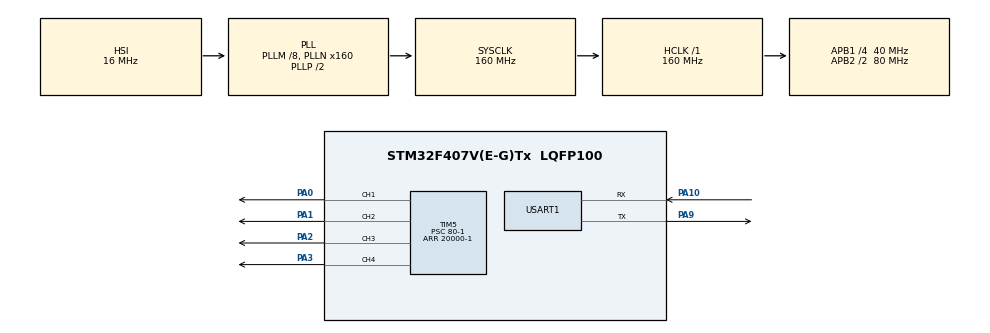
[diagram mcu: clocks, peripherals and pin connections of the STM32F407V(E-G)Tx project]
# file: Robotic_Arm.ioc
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Dma.Request0=USART1_RX
Dma.USART1_RX.0.Direction=DMA_PERIPH_TO_MEMORY
Dma.USART1_RX.0.FIFOMode=DMA_FIFOMODE_DISABLE
Dma.USART1_RX.0.Instance=DMA2_Stream2
Dma.USART1_RX.0.MemDataAlignment=DMA_MDATAALIGN_BYTE
Dma.USART1_RX.0.MemInc=DMA_MINC_ENABLE
Dma.USART1_RX.0.Mode=DMA_NORMAL
Dma.USART1_RX.0.PeriphDataAlignment=DMA_PDATAALIGN_BYTE
Dma.USART1_RX.0.PeriphInc=DMA_PINC_DISABLE
Dma.USART1_RX.0.Priority=DMA_PRIORITY_LOW
Mcu.Family=STM32F4
Mcu.Name=STM32F407V(E-G)Tx
Mcu.Package=LQFP100
NVIC.DMA2_Stream2_IRQn=true\:0\:0\:false\:false\:true\:false\:true\:true
NVIC.PriorityGroup=NVIC_PRIORITYGROUP_4
NVIC.TIM6_DAC_IRQn=true\:15\:0\:false\:false\:true\:false\:true\:true
NVIC.TimeBase=TIM6_DAC_IRQn
NVIC.TimeBaseIP=TIM6
NVIC.USART1_IRQn=true\:0\:0\:false\:false\:true\:true\:true\:true
PA0-WKUP.GPIO_PuPd=GPIO_PULLDOWN
PA0-WKUP.Signal=S_TIM5_CH1
PA1.GPIO_PuPd=GPIO_PULLDOWN
PA1.Signal=S_TIM5_CH2
PA10.Mode=Asynchronous
PA10.Signal=USART1_RX
PA13.Mode=Serial_Wire
PA13.Signal=SYS_JTMS-SWDIO
PA14.Mode=Serial_Wire
PA14.Signal=SYS_JTCK-SWCLK
PA2.GPIO_PuPd=GPIO_PULLDOWN
PA2.Signal=S_TIM5_CH3
PA3.GPIO_PuPd=GPIO_PULLDOWN
PA3.Signal=S_TIM5_CH4
PA9.Mode=Asynchronous
PA9.Signal=USART1_TX
ProjectManager.HeapSize=0x200
ProjectManager.StackSize=0x400
ProjectManager.TargetToolchain=MDK-ARM V5.32
RCC.48MHZClocksFreq_Value=80000000
RCC.AHBFreq_Value=160000000
RCC.APB1CLKDivider=RCC_HCLK_DIV4
RCC.APB1Freq_Value=40000000
RCC.APB1TimFreq_Value=80000000
RCC.APB2CLKDivider=RCC_HCLK_DIV2
RCC.APB2Freq_Value=80000000
RCC.APB2TimFreq_Value=160000000
RCC.CortexFreq_Value=160000000
RCC.HCLKFreq_Value=160000000
RCC.HSE_VALUE=25000000
RCC.HSI_VALUE=16000000
RCC.LSE_VALUE=32768
RCC.PLLM=8
RCC.PLLN=160
RCC.SYSCLKFreq_VALUE=160000000
RCC.SYSCLKSource=RCC_SYSCLKSOURCE_PLLCLK
RCC.VCOOutputFreq_Value=320000000
SH.S_TIM5_CH1.0=TIM5_CH1,PWM Generation1 CH1
SH.S_TIM5_CH2.0=TIM5_CH2,PWM Generation2 CH2
SH.S_TIM5_CH3.0=TIM5_CH3,PWM Generation3 CH3
SH.S_TIM5_CH4.0=TIM5_CH4,PWM Generation4 CH4
TIM5.Channel-PWM\ Generation1\ CH1=TIM_CHANNEL_1
TIM5.Channel-PWM\ Generation2\ CH2=TIM_CHANNEL_2
TIM5.Channel-PWM\ Generation3\ CH3=TIM_CHANNEL_3
TIM5.Channel-PWM\ Generation4\ CH4=TIM_CHANNEL_4
TIM5.Period=20000-1
TIM5.Prescaler=80-1
USART1.VirtualMode=VM_ASYNC
VP_SYS_VS_tim6.Mode=TIM6
board=custom

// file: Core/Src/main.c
/* USER CODE BEGIN Header */
/**
  ******************************************************************************
  * @file           : main.c
  * @brief          : Main program body
  ******************************************************************************
  * @attention
  *
  * Copyright (c) 2025 STMicroelectronics.
  * All rights reserved.
  *
  * This software is licensed under terms that can be found in the LICENSE file
  * in the root directory of this software component.
  * If no LICENSE file comes with this software, it is provided AS-IS.
  *
  ******************************************************************************
  */
/* USER CODE END Header */
#include "main.h"
#include "dma.h"
#include "tim.h"
#include "usart.h"
#include "gpio.h"
#include "bsp_usart.h"
#include "math.h"

/* USER CODE BEGIN Includes */
#include "servo.h"
#include "Kinematic_solution.h"
/* USER CODE END Includes */

/* USER CODE BEGIN PD */
uint8_t Suck_Flag = 0;
/* USER CODE END PD */

/* USER CODE BEGIN PM */
float theta[3];
int32_t coord[3];//X Y Z
USARTInstance uartinstance;

/* USER CODE END PM */

void SystemClock_Config(void);

/* USER CODE BEGIN 0 */
// 在main()函数前调用
void EnableFPU(void) {
    // 启用CP10和CP11协处理器（FPU）
    SCB->CPACR |= ((3UL << 10*2) | (3UL << 11*2)); // CP10和CP11全访问
}

void pack_callback(void *param)
{
    // 假设uartinstance已定义并包含recv_buff和recv_len
    uint8_t* buff = uartinstance.recv_buff;

    // 检查帧头
    if(buff[0] != 0xED) return;

    // 解析摇杆数据（小端序）
    coord[0] = buff[1] | (buff[2] << 8);  // 左X
    coord[1] = buff[3] | (buff[4] << 8);  // 左Y
    // coord[2] = buff[5] | (buff[6] << 8);  // 右X
    coord[2] = buff[7] | (buff[8] << 8);  // 右Y

    // 添加绝对值200限位处理
    for(int i = 0; i < 3; i++) {
        if(coord[i] > 200) {
            coord[i] = 200;
        }
        else if(coord[i] < -200) {
            coord[i] = -200;
        }
    }

    // 保持原有的Y轴下限为0的处理
    if(coord[1] < 0) {
        coord[1] = 0;
    }

    // 存储按钮状态（A/B/X/Y）
    if(buff[9] == 0x01)   // A按钮
    {
        Suck_Flag = 1;
    }
}

/* USER CODE END 0 */

int main(void)
{

  /* MCU Configuration--------------------------------------------------------*/

  /* Reset of all peripherals, Initializes the Flash interface and the Systick. */
  HAL_Init();

  /* Configure the system clock */
  SystemClock_Config();

  /* Initialize all configured peripherals */
  MX_GPIO_Init();
  MX_DMA_Init();
  MX_TIM5_Init();
  MX_USART1_UART_Init();
  /* USER CODE BEGIN 2 */

  Servo_Init();
  Servo_Config(0, &htim5, TIM_CHANNEL_1, 500, 2500, 0, 180);
  Servo_Config(1, &htim5, TIM_CHANNEL_2, 500, 2500, 0, 180);
  Servo_Config(2, &htim5, TIM_CHANNEL_3, 500, 2500, 0, 180);
  Servo_Config(3, &htim5, TIM_CHANNEL_4, 500, 2500, 0, 180);

	coord[0]=0;
	coord[1]=150;
	coord[2]=165;

  USART_Init_Config_s uart_config;
  uart_config.recv_buff_size = 50;
  uart_config.usart_handle = &huart1;
  uart_config.module_callback = pack_callback;
  uart_config.param = &uartinstance;
  USARTRegister(&uartinstance, &uart_config);

  /* USER CODE END 2 */

  /* Infinite loop */
  /* USER CODE BEGIN WHILE */
  while (1)
  {
    acclulate(coord[0], coord[1], coord[2], &theta[0], &theta[1], &theta[2]);

    if(theta[0] > 180) {
      theta[0] = 180;
    }
		if(theta[0] < 80) {
      theta[0] = 80;
    }
    if(theta[1] > 130) {
      theta[1] = 130;
    }
    if(theta[1] < 0) {
      theta[1] = 0;
    }

    theta[0] = 180 - theta[0];

    Servo_SetAngle(0, theta[1]);
    HAL_Delay(1000);
    Servo_SetAngle(1, theta[0]);
    HAL_Delay(1000);
    Servo_SetAngle(2, theta[2]);
    HAL_Delay(1000);
    // Servo_SetAngle(0, 90);
    // HAL_Delay(1000);
		// Servo_SetAngle(1, 0);
    // HAL_Delay(1000);
		// Servo_SetAngle(3, 0);
    // HAL_Delay(2000);
		// Servo_SetAngle(0, 40);
    // HAL_Delay(1000);
		// Servo_SetAngle(1, 50);
    // HAL_Delay(1000);
		// Servo_SetAngle(3, 180);
    // HAL_Delay(2000);
    switch (Suck_Flag)
    {
    case 1:Servo_SetAngle(3, 180);
      break;

    default:Servo_SetAngle(3, 0);
      break;
    }

    /* USER CODE END WHILE */

  }
}

void SystemClock_Config(void)
{
  RCC_OscInitTypeDef RCC_OscInitStruct = {0};
  RCC_ClkInitTypeDef RCC_ClkInitStruct = {0};

  /** Configure the main internal regulator output voltage
  */
  __HAL_RCC_PWR_CLK_ENABLE();
  __HAL_PWR_VOLTAGESCALING_CONFIG(PWR_REGULATOR_VOLTAGE_SCALE1);

  /** Initializes the RCC Oscillators according to the specified parameters
  * in the RCC_OscInitTypeDef structure.
  */
  RCC_OscInitStruct.OscillatorType = RCC_OSCILLATORTYPE_HSI;
  RCC_OscInitStruct.HSIState = RCC_HSI_ON;
  RCC_OscInitStruct.HSICalibrationValue = RCC_HSICALIBRATION_DEFAULT;
  RCC_OscInitStruct.PLL.PLLState = RCC_PLL_ON;
  RCC_OscInitStruct.PLL.PLLSource = RCC_PLLSOURCE_HSI;
  RCC_OscInitStruct.PLL.PLLM = 8;
  RCC_OscInitStruct.PLL.PLLN = 160;
  RCC_OscInitStruct.PLL.PLLP = RCC_PLLP_DIV2;
  RCC_OscInitStruct.PLL.PLLQ = 4;
  if (HAL_RCC_OscConfig(&RCC_OscInitStruct) != HAL_OK)
  {
    Error_Handler();
  }

  /** Initializes the CPU, AHB and APB buses clocks
  */
  RCC_ClkInitStruct.ClockType = RCC_CLOCKTYPE_HCLK|RCC_CLOCKTYPE_SYSCLK
                              |RCC_CLOCKTYPE_PCLK1|RCC_CLOCKTYPE_PCLK2;
  RCC_ClkInitStruct.SYSCLKSource = RCC_SYSCLKSOURCE_PLLCLK;
  RCC_ClkInitStruct.AHBCLKDivider = RCC_SYSCLK_DIV1;
  RCC_ClkInitStruct.APB1CLKDivider = RCC_HCLK_DIV4;
  RCC_ClkInitStruct.APB2CLKDivider = RCC_HCLK_DIV2;

  if (HAL_RCC_ClockConfig(&RCC_ClkInitStruct, FLASH_LATENCY_5) != HAL_OK)
  {
    Error_Handler();
  }
}

void HAL_TIM_PeriodElapsedCallback(TIM_HandleTypeDef *htim)
{
  if (htim->Instance == TIM6) {
    HAL_IncTick();
  }
}

void Error_Handler(void)
{
  __disable_irq();
  while (1)
  {
  }
}
